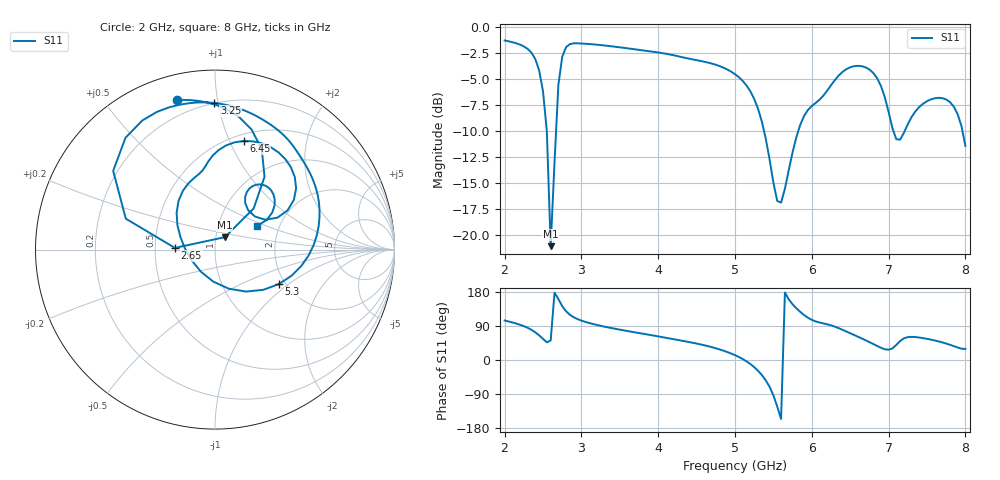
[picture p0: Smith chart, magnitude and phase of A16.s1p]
! Generated by Hertzon (EMerge FEM)
# HZ S RI R 50
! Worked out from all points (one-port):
!   121 points, 2 GHz to 8 GHz, reference 50 ohm
!   lowest |S11| = -21.1 dB at 2.6 GHz (marker M1), VSWR 1.19, Z = 55.3 + j7.72 ohm
!   |S11| at or under -10 dB: 2.549 GHz to 2.67 GHz (120.8 MHz wide, 4.63 % of centre); 5.378 GHz to 5.824 GHz (446.7 MHz wide, 7.98 % of centre); 7.063 GHz to 7.21 GHz (147.4 MHz wide, 2.07 % of centre)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
!   S11 on the Smith chart (normalised r, x): 2 GHz: 0.12, +0.77; 2.65 GHz: 0.63, +0.01; 3.25 GHz: 0.20, +0.98; 5.3 GHz: 1.85, -0.85; 6.45 GHz: 0.57, +1.13; 8 GHz: 1.54, +0.43
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2e9  -0.2117 0.8331
2.3e9  0.0687 0.78
2.45e9  0.2608 0.5593
2.55e9  0.2155 0.2295
2.6e9  0.0551 0.0693
2.65e9  -0.2234 0.00941
2.7e9  -0.497 0.1723
2.75e9  -0.5673 0.4386
2.8e9  -0.4988 0.623
2.9e9  -0.3228 0.7677
3.25e9  -0.0033 0.8169
3.5e9  0.1372 0.7849
4.25e9  0.4348 0.5777
5e9  0.5775 0.1308
5.3e9  0.3553 -0.1924
5.4e9  0.1736 -0.2338
5.55e9  -0.0793 -0.1225
5.6e9  -0.1306 -0.0591
5.75e9  -0.2094 0.1364
5.95e9  -0.1463 0.3712
6.45e9  0.1598 0.6052
6.5e9  0.2117 0.603
6.85e9  0.4519 0.3421
7e9  0.3475 0.1778
7.1e9  0.2223 0.1843
7.25e9  0.1683 0.2961
7.75e9  0.3255 0.3074
8e9  0.2337 0.1312
